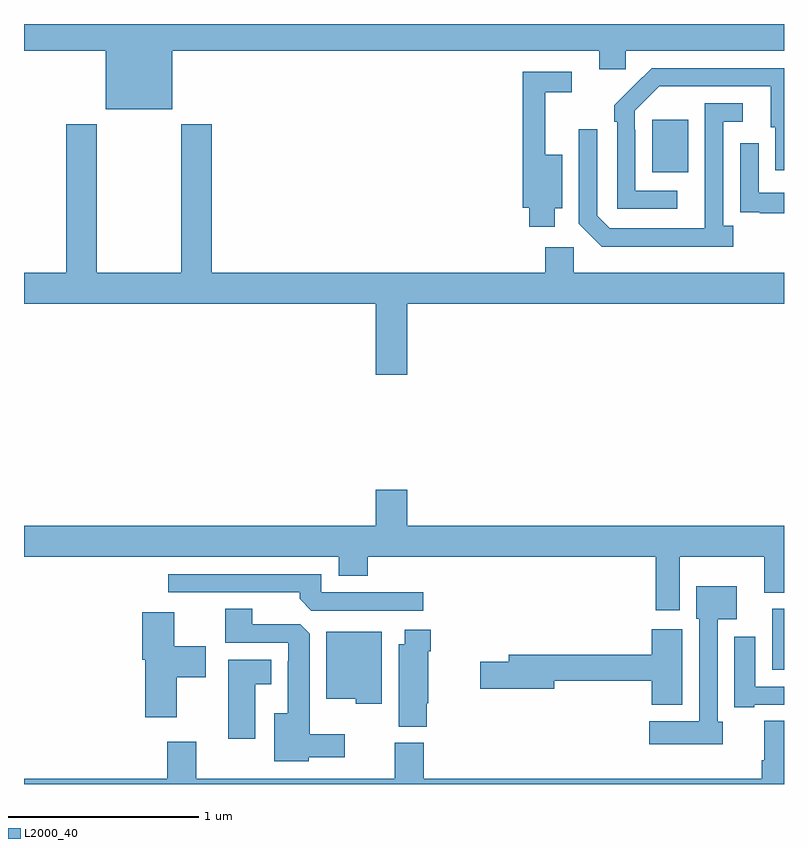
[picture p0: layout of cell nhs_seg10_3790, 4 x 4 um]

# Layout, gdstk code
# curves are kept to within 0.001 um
import gdstk
lib = gdstk.Library(unit=1e-6, precision=1e-09)
def R(c, l, rs):  # rectangles x0, y0, x1, y1
    for r in rs: c.add(gdstk.rectangle(r[:2], r[2:], *l))
def P(c, l, *ps):  # polygons
    for p in ps: c.add(gdstk.Polygon(p, *l))
L2000_40 = (2000, 40)

nhs_seg10_3790 = lib.new_cell('nhs_seg10_3790')
R(nhs_seg10_3790, L2000_40, [(322.937,1253.102,323,1253.422), (322.307,1255.721,322.495,1255.996)])
P(nhs_seg10_3790, L2000_40, [(319.78,1256.36),(322.028,1256.36),(322.028,1256.262),(322.167,1256.262),(322.167,1256.36),(323,1256.36),(323,1256.5),(319,1256.5),(319,1256.36),(319.43,1256.36),(319.43,1256.051),(319.78,1256.051)],
  [(322.438,1255.623),(322.218,1255.623),(322.218,1255.943),(322.215,1255.943),(322.215,1256.043),(322.344,1256.172),(322.931,1256.172),(322.931,1255.956),(322.955,1255.956),(322.955,1255.731),(323,1255.731),(323,1256.268),(322.304,1256.268),(322.107,1256.073),(322.107,1255.985),(322.122,1255.985),(322.122,1255.527),(322.438,1255.527)],
  [(321.793,1255.529),(321.832,1255.529),(321.832,1255.813),(321.743,1255.813),(321.743,1256.142),(321.883,1256.142),(321.883,1256.25),(321.625,1256.25),(321.625,1255.533),(321.659,1255.533),(321.659,1255.433),(321.793,1255.433)],
  [(322.732,1255.438),(322.68,1255.438),(322.68,1255.986),(322.783,1255.986),(322.783,1256.082),(322.584,1256.082),(322.583,1255.425),(322.083,1255.425),(322.017,1255.491),(322.017,1255.945),(321.921,1255.945),(321.921,1255.449),(322.042,1255.328),(322.732,1255.328)],
  [(321.016,1255.028),(323,1255.028),(323,1255.192),(321.894,1255.192),(321.894,1255.324),(321.743,1255.324),(321.743,1255.192),(319.988,1255.192),(319.988,1255.972),(319.828,1255.972),(319.828,1255.192),(319.383,1255.192),(319.383,1255.972),(319.223,1255.972),(319.223,1255.192),(319,1255.192),(319,1255.028),(320.852,1255.028),(320.852,1254.654),(321.016,1254.654)],
  [(323,1255.611),(322.866,1255.611),(322.866,1255.873),(322.77,1255.873),(322.77,1255.618),(322.771,1255.618),(322.771,1255.509),(322.873,1255.509),(322.873,1255.503),(323,1255.503)],
  [(322.45,1253.696),(322.895,1253.696),(322.895,1253.507),(323,1253.507),(323,1253.86),(321.016,1253.86),(321.016,1254.049),(320.852,1254.049),(320.852,1253.86),(319,1253.86),(319,1253.696),(320.657,1253.696),(320.657,1253.597),(320.81,1253.597),(320.81,1253.696),(322.325,1253.696),(322.325,1253.415),(322.45,1253.415)],
  [(321.1,1253.508),(320.565,1253.508),(320.565,1253.604),(319.758,1253.604),(319.758,1253.508),(320.45,1253.508),(320.45,1253.474),(320.511,1253.412),(321.1,1253.412)],
  [(322.678,1252.827),(322.65,1252.827),(322.65,1253.366),(322.75,1253.366),(322.75,1253.542),(322.538,1253.542),(322.538,1253.37),(322.554,1253.37),(322.554,1252.831),(322.29,1252.831),(322.29,1252.709),(322.678,1252.709)],
  [(320.499,1252.64),(320.689,1252.64),(320.689,1252.762),(320.503,1252.762),(320.503,1253.291),(320.454,1253.34),(320.2,1253.34),(320.2,1253.423),(320.06,1253.423),(320.06,1253.244),(320.391,1253.244),(320.391,1253.147),(320.387,1253.147),(320.387,1252.873),(320.318,1252.873),(320.318,1252.619),(320.499,1252.619)],
  [(319.804,1253.062),(319.957,1253.062),(319.957,1253.224),(319.792,1253.224),(319.792,1253.404),(319.622,1253.404),(319.622,1253.155),(319.637,1253.155),(319.637,1252.851),(319.804,1252.851)],
  [(322.465,1253.314),(322.304,1253.314),(322.304,1253.18),(321.551,1253.18),(321.551,1253.144),(321.402,1253.144),(321.402,1253.002),(321.79,1253.002),(321.79,1253.044),(322.304,1253.044),(322.304,1252.916),(322.465,1252.916)],
  [(321.119,1252.926),(321.127,1252.926),(321.127,1253.198),(321.14,1253.198),(321.14,1253.311),(321.005,1253.311),(321.005,1253.236),(320.972,1253.236),(320.972,1252.801),(321.119,1252.801)],
  [(320.884,1253.302),(320.591,1253.302),(320.591,1252.949),(320.745,1252.949),(320.745,1252.922),(320.884,1252.922)],
  [(322.843,1252.917),(323,1252.917),(323,1253.013),(322.849,1253.013),(322.849,1253.275),(322.739,1253.275),(322.739,1252.905),(322.843,1252.905)],
  [(320.218,1253.024),(320.302,1253.024),(320.302,1253.155),(320.075,1253.155),(320.075,1252.737),(320.218,1252.737)],
  [(323,1252.832),(322.895,1252.832),(322.895,1252.624),(322.883,1252.624),(322.883,1252.528),(321.104,1252.528),(321.104,1252.716),(320.951,1252.716),(320.951,1252.528),(319.906,1252.528),(319.906,1252.723),(319.754,1252.723),(319.754,1252.528),(319,1252.528),(319,1252.5),(323,1252.5)])

lib.write_gds('nhs_seg10_3790.gds')
